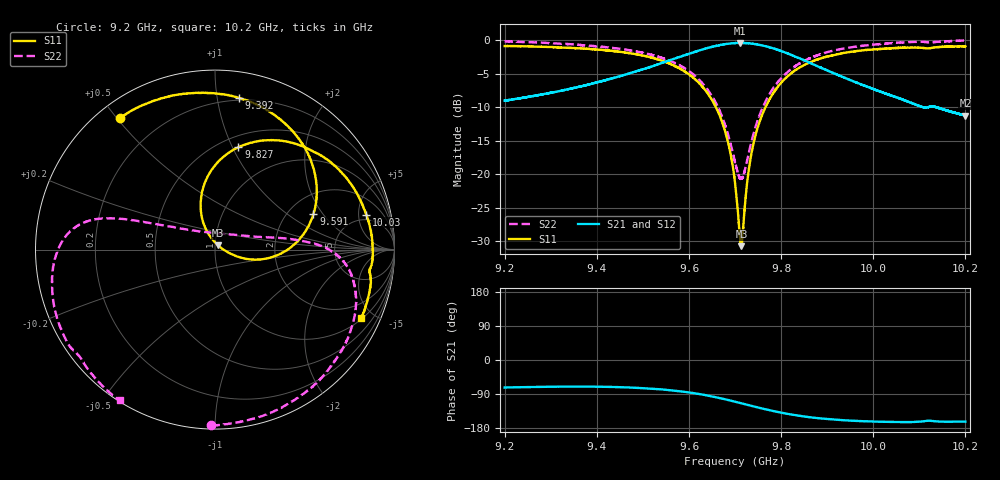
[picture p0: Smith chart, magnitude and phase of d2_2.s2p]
!Agilent Technologies,N5242A,MY51221714,A.09.90.19
!Agilent N5242A: A.09.90.19
!Date: Saturday, March 16, 2024 09:06:45
!Correction: S11(Full 2 Port(1,2))
!S21(Full 2 Port(1,2))
!S12(Full 2 Port(1,2))
!S22(Full 2 Port(1,2))
!S2P File: Measurements: S11, S21, S12, S22:
# Hz S  dB  R 50
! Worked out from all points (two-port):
!   16001 points, 9.2 GHz to 10.2 GHz, reference 50 ohm
!   highest |S21| = -0.41 dB at 9.71 GHz (marker M1); lowest = -11.3 dB at 10.2 GHz (marker M2)
!   |S21| within 3 dB of the highest: 9.541 GHz to 9.863 GHz (321.6 MHz wide, 3.32 % of centre); 9.863094 GHz to 9.863271 GHz (177.9 kHz wide, 0.0018 % of centre)
!   lowest |S11| = -30.8 dB at 9.714 GHz (marker M3), VSWR 1.06, Z = 51.6 + j2.48 ohm
!   |S11| at or under -10 dB: 9.658 GHz to 9.766 GHz (107.8 MHz wide, 1.11 % of centre)
!   |S22| runs from -20.7 to 0.0 dB; largest |S21 - S12| = 0.011
!   S11 on the Smith chart (normalised r, x): 9.2 GHz: 0.06, +0.51; 9.392 GHz: 0.18, +1.15; 9.591 GHz: 2.72, +1.62; 9.827 GHz: 0.61, +1.05; 10.03 GHz: 4.02, +6.20; 10.2 GHz: 1.07, -4.26
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9.2e9  -0.88 125.7  -9.04 -72.6  -9.03 -73.2  -0.18 -91.2
9.277625e9  -0.98 108.4  -8.16 -70.9  -8.14 -71.4  -0.37 -69.6
9.366688e9  -1.24 87.4  -6.89 -70.3  -6.88 -70.7  -0.74 -45.9
9.39225e9  -1.36 81.0  -6.46 -70.4  -6.44 -70.9  -0.89 -39.4
9.461438e9  -1.85 62.4  -5.16 -72.2  -5.16 -72.7  -1.41 -23.0
9.533375e9  -2.89 40.5  -3.60 -76.9  -3.59 -77.3  -2.46 -8.2
9.591062e9  -4.69 19.8  -2.25 -84.2  -2.24 -84.7  -4.21 0.9
9.662438e9  -10.55 -9.5  -0.81 -99.3  -0.80 -99.8  -9.90 12.2
9.684812e9  -15.24 -16.8  -0.55 -105.5  -0.53 -106.0  -14.06 22.7
9.7e9  -21.20 -14.3  -0.44 -110.0  -0.43 -110.6  -18.23 43.0
9.7105e9  -29.11 17.9  -0.41 -113.2  -0.40 -113.8  -20.57 75.0
9.714e9  -30.76 55.9  -0.42 -114.3  -0.41 -114.9  -20.73 88.4
9.731562e9  -18.59 113.9  -0.49 -119.7  -0.46 -120.3  -16.36 136.4
9.750188e9  -12.84 110.1  -0.67 -125.4  -0.66 -125.9  -11.78 151.2
9.78325e9  -7.90 96.3  -1.23 -134.7  -1.24 -135.3  -7.16 159.2
9.827312e9  -4.66 77.1  -2.36 -144.9  -2.35 -145.4  -4.05 163.9
9.866688e9  -3.20 61.8  -3.52 -151.7  -3.51 -152.2  -2.57 168.2
9.9505e9  -1.75 34.1  -5.97 -160.0  -5.98 -160.4  -1.09 -178.7
1.002862e10  -1.27 13.0  -8.03 -163.1  -8.01 -163.7  -0.50 -162.9
1.003338e10  -1.25 11.8  -8.14 -163.3  -8.13 -163.8  -0.47 -161.9
1.010412e10  -1.14 -5.3  -9.93 -162.5  -9.93 -163.0  -0.25 -146.3
1.02e10  -0.92 -25.0  -11.27 -162.6  -11.26 -163.1  -0.05 -122.3
